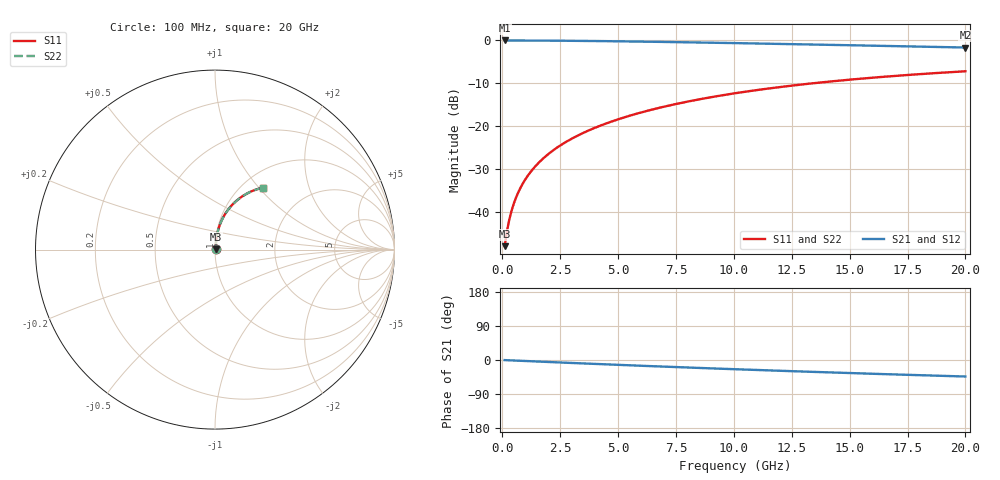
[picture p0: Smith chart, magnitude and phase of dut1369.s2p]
! Touchstone file exported from HFSS 2024.1.0
!  File:  C:/UserFiles/LocalFiles/RDL_TSV_Batchsim/temp_RDL_top_1369_1780366876.aedt
!  Generated:  10:23:50 AM Jun  2, 2026
!  Design:  RDL_top
!  Project:  temp_RDL_top_1369_1780366876
!  Setup:  Setup1
!  Solution:  Sweep
! Variables:
!  dtsv = 10.80580581um
!  hbump = 3um
!  htsv = 68.87um
!  ldown = 100um
!  lrdl = 578.28um
!  p = 40
!  p1 = 55.55um
!  rhole = 1um
!  t = 450um
!  tdown = 3.915915916um
!  trdl = 3.65um
!  wdown = 15.38538539um
!  wrdl = 18.67um
# GHz S MA R 50.000000
! Terminal data exported
! Port[1] = Box2_T1
! Port[2] = Box2_T2
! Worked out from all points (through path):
!   200 points, 100 MHz to 20 GHz, reference 50 ohm
!   highest |S21| = -0.03 dB at 100 MHz (marker M1); lowest = -1.7 dB at 20 GHz (marker M2)
!   group delay of S21, straight-line fit = 6.03 ps
!   lowest |S11| = -47.8 dB at 100 MHz (marker M3), VSWR 1.01, Z = 50.3 + j0.255 ohm
!   |S11| at or under -10 dB: start of sweep to 13.38 GHz
!   |S22| runs from -47.8 to -7.2 dB; largest |S21 - S12| = 3.1e-15
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0.1  0.004052 38.8  0.9968 -0.3  0.9968 -0.3  0.004052 38.8
! Gamma 0 0 0 0
! Port Impedance 50 0 50 0
0.2  0.006 56.9  0.9967 -0.5  0.9967 -0.5  0.006 56.9
0.3  0.008198 65.3  0.9965 -0.8  0.9965 -0.8  0.008198 65.3
0.4  0.01046 70.0  0.9964 -1.1  0.9964 -1.1  0.01046 70.0
0.5  0.01274 73.1  0.9962 -1.3  0.9962 -1.3  0.01274 73.1
0.6  0.01503 75.2  0.996 -1.6  0.996 -1.6  0.01503 75.2
0.8  0.01965 78.0  0.9957 -2.1  0.9957 -2.1  0.01965 78.0
1.1  0.02665 80.3  0.995 -2.9  0.995 -2.9  0.02665 80.3
1.5  0.03607 81.8  0.994 -4.0  0.994 -4.0  0.03607 81.8
1.8  0.04319 82.3  0.993 -4.7  0.993 -4.7  0.04319 82.3
2.1  0.05034 82.6  0.9919 -5.5  0.9919 -5.5  0.05034 82.6
2.7  0.06473 82.6  0.9893 -7.1  0.9893 -7.1  0.06472 82.6
3.5  0.08407 82.1  0.9849 -9.1  0.9849 -9.1  0.08406 82.1
4.2  0.1011 81.3  0.9804 -10.9  0.9804 -10.9  0.1011 81.3
5  0.1207 80.3  0.9746 -12.8  0.9746 -12.8  0.1207 80.2
5.9  0.1428 78.8  0.9675 -15.0  0.9675 -15.0  0.1428 78.8
6.8  0.1649 77.3  0.9597 -17.1  0.9597 -17.1  0.1648 77.3
8.4  0.2037 74.3  0.9449 -20.7  0.9449 -20.7  0.2036 74.3
10.1  0.2438 71.0  0.9282 -24.5  0.9282 -24.5  0.2437 71.0
13.4  0.3166 64.5  0.8942 -31.3  0.8942 -31.3  0.3164 64.4
16.7  0.3812 58.1  0.8594 -37.7  0.8594 -37.7  0.381 58.1
20  0.4369 52.2  0.825 -43.6  0.825 -43.6  0.4367 52.2
